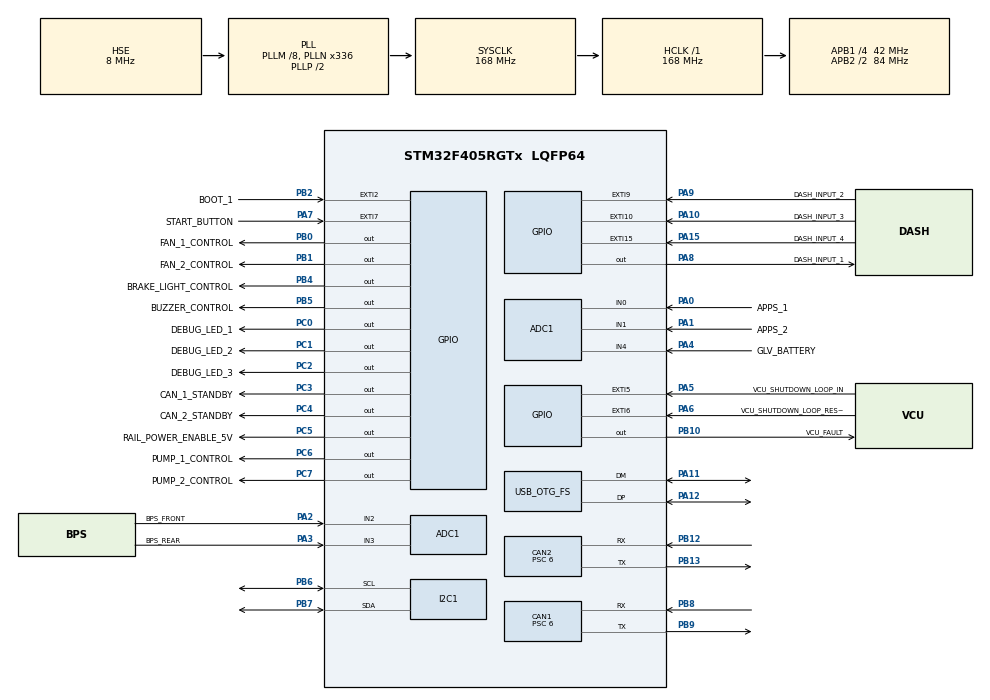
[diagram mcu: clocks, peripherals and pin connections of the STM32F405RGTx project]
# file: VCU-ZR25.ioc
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ADC1.Channel-0\#ChannelRegularConversion=ADC_CHANNEL_0
ADC1.NbrOfConversionFlag=1
ADC1.Rank-0\#ChannelRegularConversion=1
ADC1.SamplingTime-0\#ChannelRegularConversion=ADC_SAMPLETIME_3CYCLES
ADC1.master=1
CAN1.BS1=CAN_BS1_3TQ
CAN1.BS2=CAN_BS2_3TQ
CAN1.CalculateBaudRate=1000000
CAN1.CalculateTimeBit=1000
CAN1.CalculateTimeQuantum=142.85714285714286
CAN1.Prescaler=6
CAN1.TXFP=ENABLE
CAN2.BS1=CAN_BS1_3TQ
CAN2.BS2=CAN_BS2_3TQ
CAN2.CalculateBaudRate=1000000
CAN2.CalculateTimeBit=1000
CAN2.CalculateTimeQuantum=142.85714285714286
CAN2.Prescaler=6
Dma.I2C1_RX.0.Direction=DMA_PERIPH_TO_MEMORY
Dma.I2C1_RX.0.FIFOMode=DMA_FIFOMODE_DISABLE
Dma.I2C1_RX.0.Instance=DMA1_Stream0
Dma.I2C1_RX.0.MemDataAlignment=DMA_MDATAALIGN_BYTE
Dma.I2C1_RX.0.MemInc=DMA_MINC_ENABLE
Dma.I2C1_RX.0.Mode=DMA_NORMAL
Dma.I2C1_RX.0.PeriphDataAlignment=DMA_PDATAALIGN_BYTE
Dma.I2C1_RX.0.PeriphInc=DMA_PINC_DISABLE
Dma.I2C1_RX.0.Priority=DMA_PRIORITY_LOW
Dma.Request0=I2C1_RX
FREERTOS.Events01=amkEventFlags,Static,amkEventFlagsControlBlock
FREERTOS.Mutexes01=vdb_sas_lock,Static,vdb_sas_lockControlBlock,Depleted;vdb_apps_lock,Static,vdb_apps_lockControlBlock,Depleted;vdb_bps_front_lock,Static,vdb_bps_front_lockControlBlock,Depleted;vdb_bps_rear_lock,Static,vdb_bps_rear_lockControlBlock,Depleted;vdb_inverter_lock,Static,vdb_inverter_lockControlBlock,Depleted;vdb_fsm_state_lock,Static,vdb_fsm_state_lockControlBlock,Depleted;vdb_powsup_lock,Static,vdb_powsup_lockControlBlock,Depleted;vdb_cooling_lock,Static,vdb_cooling_lockControlBlock,Depleted;vdb_dashboard_lock,Static,vdb_dashboard_lockControlBlock,Depleted;vdb_torquectrl_lock,Static,vdb_torquectrl_lockControlBlock,Depleted;can_db_lock,Static,can_db_lockControlBlock,Depleted;vdb_faulttask_lock,Static,vdb_faulttask_lockControlBlock,Depleted;vdb_gps_lock,Static,vdb_gps_lockControlBlock,Depleted;vdb_defaultTask_lock,Static,vdb_defaultTask_lockControlBlock,Available
FREERTOS.Queues01=canDbTxQueue,16,16,1,Static,canDbTxQueueBuffer,canDbTxQueueControlBlock;canDbRxQueue,16,16,1,Static,canDbRxQueueBuffer,canDbRxQueueControlBlock
FREERTOS.Tasks01=defaultTask,24,128,StartDefaultTask,Default,NULL,Dynamic,NULL,NULL;fsmTask,24,512,StartFsmTask,As external,NULL,Static,fsmTaskBuffer,fsmTaskControlBlock;powsupTask,24,512,StartPwrSupTask,As external,&powsupArgs,Static,powsupTaskBuffer,powsupTaskControlBlock;driversensrTask,24,2048,StartDriverSensorTask,As external,&driversensorArgs,Static,driversensrTaskBuffer,driversensrTaskControlBlock;faultTask,24,512,StartFaultTask,As external,NULL,Static,faultTaskBuffer,faultTaskControlBlock;canDbTask,24,512,StartCanDbTask,As external,&hcan1,Static,canDbTaskBuffer,canDbTaskControlBlock;coolingTask,24,512,StartCoolingTask,As external,NULL,Static,coolingTaskBuffer,coolingTaskControlBlock;dashboardTask,24,512,StartDashboardTask,As external,NULL,Static,dashboardTaskBuffer,dashboardTaskControlBlock;torquectrlTask,24,512,StartTorqueCtrlTask,As external,NULL,Static,torquectrlTaskBuffer,torquectrlTaskControlBlock;amkTask,24,512,StartAMKTask,As external,NULL,Static,amkTaskBuffer,amkTaskControlBlock;canSensorsTask,8,128,StartCanSensorsTask,As external,NULL,Static,canSensorsTaskBuffer,canSensorsTaskControlBlock
FREERTOS.configGENERATE_RUN_TIME_STATS=1
FREERTOS.configUSE_NEWLIB_REENTRANT=1
Mcu.Family=STM32F4
Mcu.Name=STM32F405RGTx
Mcu.Package=LQFP64
NVIC.CAN1_RX0_IRQn=true\:5\:0\:false\:false\:true\:true\:true\:true\:true
NVIC.CAN2_RX0_IRQn=true\:5\:0\:false\:false\:true\:true\:true\:true\:true
NVIC.DMA1_Stream0_IRQn=true\:5\:0\:false\:false\:true\:true\:false\:true\:true
NVIC.EXTI15_10_IRQn=true\:5\:0\:false\:false\:true\:true\:true\:true\:true
NVIC.EXTI9_5_IRQn=true\:5\:0\:false\:false\:true\:true\:true\:true\:true
NVIC.OTG_FS_IRQn=true\:5\:0\:false\:false\:true\:true\:false\:true\:true
NVIC.PriorityGroup=NVIC_PRIORITYGROUP_4
NVIC.TIM1_TRG_COM_TIM11_IRQn=true\:5\:0\:false\:false\:true\:true\:true\:true\:true
NVIC.TIM1_UP_TIM10_IRQn=true\:5\:0\:false\:false\:true\:false\:false\:true\:true
NVIC.TimeBase=TIM1_UP_TIM10_IRQn
NVIC.TimeBaseIP=TIM1
PA0-WKUP.GPIO_Label=APPS_1
PA0-WKUP.Signal=ADCx_IN0
PA1.GPIO_Label=APPS_2
PA1.Signal=ADCx_IN1
PA10.GPIO_Label=DASH_INPUT_3
PA10.GPIO_ModeDefaultEXTI=GPIO_MODE_IT_RISING_FALLING
PA10.GPIO_PuPd=GPIO_NOPULL
PA10.Signal=GPXTI10
PA11.Mode=Device_Only
PA11.Signal=USB_OTG_FS_DM
PA12.Mode=Device_Only
PA12.Signal=USB_OTG_FS_DP
PA13.Mode=Trace_Asynchronous_SW
PA13.Signal=SYS_JTMS-SWDIO
PA14.Mode=Trace_Asynchronous_SW
PA14.Signal=SYS_JTCK-SWCLK
PA15.GPIO_Label=DASH_INPUT_4
PA15.GPIO_ModeDefaultEXTI=GPIO_MODE_IT_RISING_FALLING
PA15.GPIO_PuPd=GPIO_NOPULL
PA15.Signal=GPXTI15
PA2.GPIO_Label=BPS_FRONT
PA2.Signal=ADCx_IN2
PA3.GPIO_Label=BPS_REAR
PA3.Signal=ADCx_IN3
PA4.GPIO_Label=GLV_BATTERY
PA4.Signal=ADCx_IN4
PA5.GPIO_Label=VCU_SHUTDOWN_LOOP_IN
PA5.GPIO_ModeDefaultEXTI=GPIO_MODE_IT_RISING_FALLING
PA5.GPIO_PuPd=GPIO_NOPULL
PA5.Signal=GPXTI5
PA6.GPIO_Label=VCU_SHUTDOWN_LOOP_RESET
PA6.GPIO_ModeDefaultEXTI=GPIO_MODE_IT_RISING_FALLING
PA6.GPIO_PuPd=GPIO_NOPULL
PA6.Signal=GPXTI6
PA7.GPIO_Label=START_BUTTON
PA7.GPIO_ModeDefaultEXTI=GPIO_MODE_IT_RISING_FALLING
PA7.GPIO_PuPd=GPIO_NOPULL
PA7.Signal=GPXTI7
PA8.GPIO_Label=DASH_INPUT_1
PA8.Signal=GPIO_Output
PA9.GPIO_Label=DASH_INPUT_2
PA9.GPIO_ModeDefaultEXTI=GPIO_MODE_IT_RISING_FALLING
PA9.Signal=GPXTI9
PB0.GPIO_Label=FAN_1_CONTROL
PB0.Signal=GPIO_Output
PB1.GPIO_Label=FAN_2_CONTROL
PB1.Signal=GPIO_Output
PB10.GPIO_Label=VCU_FAULT
PB10.Signal=GPIO_Output
PB12.Mode=CAN_Activate
PB12.Signal=CAN2_RX
PB13.Mode=CAN_Activate
PB13.Signal=CAN2_TX
PB2.GPIO_Label=BOOT_1
PB2.GPIO_ModeDefaultEXTI=GPIO_MODE_IT_RISING_FALLING
PB2.Signal=GPXTI2
PB3.Mode=Trace_Asynchronous_SW
PB3.Signal=SYS_JTDO-SWO
PB4.GPIO_Label=BRAKE_LIGHT_CONTROL
PB4.Signal=GPIO_Output
PB5.GPIO_Label=BUZZER_CONTROL
PB5.Signal=GPIO_Output
PB6.GPIO_Pu=GPIO_PULLUP
PB6.Mode=I2C
PB6.Signal=I2C1_SCL
PB7.GPIO_Pu=GPIO_PULLUP
PB7.Mode=I2C
PB7.Signal=I2C1_SDA
PB8.Mode=CAN_Activate
PB8.Signal=CAN1_RX
PB9.Mode=CAN_Activate
PB9.Signal=CAN1_TX
PC0.GPIO_Label=DEBUG_LED_1
PC0.Signal=GPIO_Output
PC1.GPIO_Label=DEBUG_LED_2
PC1.Signal=GPIO_Output
PC2.GPIO_Label=DEBUG_LED_3
PC2.Signal=GPIO_Output
PC3.GPIO_Label=CAN_1_STANDBY
PC3.Signal=GPIO_Output
PC4.GPIO_Label=CAN_2_STANDBY
PC4.Signal=GPIO_Output
PC5.GPIO_Label=RAIL_POWER_ENABLE_5V
PC5.Signal=GPIO_Output
PC6.GPIO_Label=PUMP_1_CONTROL
PC6.Signal=GPIO_Output
PC7.GPIO_Label=PUMP_2_CONTROL
PC7.Signal=GPIO_Output
PH0-OSC_IN.Mode=HSE-External-Oscillator
PH0-OSC_IN.Signal=RCC_OSC_IN
PH1-OSC_OUT.Mode=HSE-External-Oscillator
PH1-OSC_OUT.Signal=RCC_OSC_OUT
ProjectManager.HeapSize=0x800
ProjectManager.StackSize=0x400
ProjectManager.TargetToolchain=STM32CubeIDE
RCC.48MHZClocksFreq_Value=48000000
RCC.AHBFreq_Value=168000000
RCC.APB1CLKDivider=RCC_HCLK_DIV4
RCC.APB1Freq_Value=42000000
RCC.APB1TimFreq_Value=84000000
RCC.APB2CLKDivider=RCC_HCLK_DIV2
RCC.APB2Freq_Value=84000000
RCC.APB2TimFreq_Value=168000000
RCC.CortexFreq_Value=168000000
RCC.HCLKFreq_Value=168000000
RCC.HSE_VALUE=8000000
RCC.HSI_VALUE=16000000
RCC.LSE_VALUE=32768
RCC.PLLM=8
RCC.PLLN=336
RCC.PLLQ=7
RCC.SYSCLKFreq_VALUE=168000000
RCC.SYSCLKSource=RCC_SYSCLKSOURCE_PLLCLK
RCC.VCOOutputFreq_Value=336000000
SH.ADCx_IN0.0=ADC1_IN0,IN0
SH.ADCx_IN1.0=ADC1_IN1,IN1
SH.ADCx_IN2.0=ADC1_IN2,IN2
SH.ADCx_IN3.0=ADC1_IN3,IN3
SH.ADCx_IN4.0=ADC1_IN4,IN4
TIM11.Period=4199
USB_DEVICE.CLASS_NAME_FS=CDC
USB_DEVICE.VirtualMode-CDC_FS=Cdc
USB_DEVICE.VirtualModeFS=Cdc_FS
USB_OTG_FS.VirtualMode=Device_Only
VP_FREERTOS_VS_CMSIS_V2.Mode=CMSIS_V2
VP_SYS_VS_tim1.Mode=TIM1
VP_TIM11_VS_ClockSourceINT.Mode=Enable_Timer
VP_USB_DEVICE_VS_USB_DEVICE_CDC_FS.Mode=CDC_FS
board=custom

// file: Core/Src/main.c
/* USER CODE BEGIN Header */
/**
  ******************************************************************************
  * @file           : main.c
  * @brief          : Main program body
  ******************************************************************************
  * @attention
  *
  * Copyright (c) 2024 STMicroelectronics.
  * All rights reserved.
  *
  * This software is licensed under terms that can be found in the LICENSE file
  * in the root directory of this software component.
  * If no LICENSE file comes with this software, it is provided AS-IS.
  *
  ******************************************************************************
  */

/*
 * TODO:
 * - Put watchdog back in?
 */

/* USER CODE END Header */
#include "main.h"
#include "cmsis_os.h"
#include "usb_device.h"

/* USER CODE BEGIN Includes */
#include "driver_sensors.h"
#include "vehicle_data.h"
#include "vehicle_fsm.h"
#include "power_supply.h"
#include "fault_mgmt.h"
#include "can_db.h"
#include "can_messages.h"
#include "cooling_system.h"
#include "torque_ctrl.h"
/* USER CODE END Includes */

typedef StaticTask_t osStaticThreadDef_t;
typedef StaticQueue_t osStaticMessageQDef_t;
typedef StaticSemaphore_t osStaticMutexDef_t;
typedef StaticEventGroup_t osStaticEventGroupDef_t;

/* USER CODE BEGIN PM */
powSupTaskArgs_t powsupArgs;
DriverSensorTaskArgs_t driversensorArgs;
/* USER CODE END PM */

ADC_HandleTypeDef hadc1;

CAN_HandleTypeDef hcan1;
CAN_HandleTypeDef hcan2;

I2C_HandleTypeDef hi2c1;
DMA_HandleTypeDef hdma_i2c1_rx;

TIM_HandleTypeDef htim11;

/* Definitions for defaultTask */
osThreadId_t defaultTaskHandle;
const osThreadAttr_t defaultTask_attributes = {
  .name = "defaultTask",
  .stack_size = 128 * 4,
  .priority = (osPriority_t) osPriorityNormal,
};
/* Definitions for fsmTask */
osThreadId_t fsmTaskHandle;
uint32_t fsmTaskBuffer[ 512 ];
osStaticThreadDef_t fsmTaskControlBlock;
const osThreadAttr_t fsmTask_attributes = {
  .name = "fsmTask",
  .cb_mem = &fsmTaskControlBlock,
  .cb_size = sizeof(fsmTaskControlBlock),
  .stack_mem = &fsmTaskBuffer[0],
  .stack_size = sizeof(fsmTaskBuffer),
  .priority = (osPriority_t) osPriorityNormal,
};
/* Definitions for powsupTask */
osThreadId_t powsupTaskHandle;
uint32_t powsupTaskBuffer[ 512 ];
osStaticThreadDef_t powsupTaskControlBlock;
const osThreadAttr_t powsupTask_attributes = {
  .name = "powsupTask",
  .cb_mem = &powsupTaskControlBlock,
  .cb_size = sizeof(powsupTaskControlBlock),
  .stack_mem = &powsupTaskBuffer[0],
  .stack_size = sizeof(powsupTaskBuffer),
  .priority = (osPriority_t) osPriorityNormal,
};
/* Definitions for driversensrTask */
osThreadId_t driversensrTaskHandle;
uint32_t driversensrTaskBuffer[ 2048 ];
osStaticThreadDef_t driversensrTaskControlBlock;
const osThreadAttr_t driversensrTask_attributes = {
  .name = "driversensrTask",
  .cb_mem = &driversensrTaskControlBlock,
  .cb_size = sizeof(driversensrTaskControlBlock),
  .stack_mem = &driversensrTaskBuffer[0],
  .stack_size = sizeof(driversensrTaskBuffer),
  .priority = (osPriority_t) osPriorityNormal,
};
/* Definitions for faultTask */
osThreadId_t faultTaskHandle;
uint32_t faultTaskBuffer[ 512 ];
osStaticThreadDef_t faultTaskControlBlock;
const osThreadAttr_t faultTask_attributes = {
  .name = "faultTask",
  .cb_mem = &faultTaskControlBlock,
  .cb_size = sizeof(faultTaskControlBlock),
  .stack_mem = &faultTaskBuffer[0],
  .stack_size = sizeof(faultTaskBuffer),
  .priority = (osPriority_t) osPriorityNormal,
};
/* Definitions for canDbTask */
osThreadId_t canDbTaskHandle;
uint32_t canDbTaskBuffer[ 512 ];
osStaticThreadDef_t canDbTaskControlBlock;
const osThreadAttr_t canDbTask_attributes = {
  .name = "canDbTask",
  .cb_mem = &canDbTaskControlBlock,
  .cb_size = sizeof(canDbTaskControlBlock),
  .stack_mem = &canDbTaskBuffer[0],
  .stack_size = sizeof(canDbTaskBuffer),
  .priority = (osPriority_t) osPriorityNormal,
};
/* Definitions for coolingTask */
osThreadId_t coolingTaskHandle;
uint32_t coolingTaskBuffer[ 512 ];
osStaticThreadDef_t coolingTaskControlBlock;
const osThreadAttr_t coolingTask_attributes = {
  .name = "coolingTask",
  .cb_mem = &coolingTaskControlBlock,
  .cb_size = sizeof(coolingTaskControlBlock),
  .stack_mem = &coolingTaskBuffer[0],
  .stack_size = sizeof(coolingTaskBuffer),
  .priority = (osPriority_t) osPriorityNormal,
};
/* Definitions for dashboardTask */
osThreadId_t dashboardTaskHandle;
uint32_t dashboardTaskBuffer[ 512 ];
osStaticThreadDef_t dashboardTaskControlBlock;
const osThreadAttr_t dashboardTask_attributes = {
  .name = "dashboardTask",
  .cb_mem = &dashboardTaskControlBlock,
  .cb_size = sizeof(dashboardTaskControlBlock),
  .stack_mem = &dashboardTaskBuffer[0],
  .stack_size = sizeof(dashboardTaskBuffer),
  .priority = (osPriority_t) osPriorityNormal,
};
/* Definitions for torquectrlTask */
osThreadId_t torquectrlTaskHandle;
uint32_t torquectrlTaskBuffer[ 512 ];
osStaticThreadDef_t torquectrlTaskControlBlock;
const osThreadAttr_t torquectrlTask_attributes = {
  .name = "torquectrlTask",
  .cb_mem = &torquectrlTaskControlBlock,
  .cb_size = sizeof(torquectrlTaskControlBlock),
  .stack_mem = &torquectrlTaskBuffer[0],
  .stack_size = sizeof(torquectrlTaskBuffer),
  .priority = (osPriority_t) osPriorityNormal,
};
/* Definitions for amkTask */
osThreadId_t amkTaskHandle;
uint32_t amkTaskBuffer[ 512 ];
osStaticThreadDef_t amkTaskControlBlock;
const osThreadAttr_t amkTask_attributes = {
  .name = "amkTask",
  .cb_mem = &amkTaskControlBlock,
  .cb_size = sizeof(amkTaskControlBlock),
  .stack_mem = &amkTaskBuffer[0],
  .stack_size = sizeof(amkTaskBuffer),
  .priority = (osPriority_t) osPriorityNormal,
};
/* Definitions for canSensorsTask */
osThreadId_t canSensorsTaskHandle;
uint32_t canSensorsTaskBuffer[ 128 ];
osStaticThreadDef_t canSensorsTaskControlBlock;
const osThreadAttr_t canSensorsTask_attributes = {
  .name = "canSensorsTask",
  .cb_mem = &canSensorsTaskControlBlock,
  .cb_size = sizeof(canSensorsTaskControlBlock),
  .stack_mem = &canSensorsTaskBuffer[0],
  .stack_size = sizeof(canSensorsTaskBuffer),
  .priority = (osPriority_t) osPriorityLow,
};
/* Definitions for canDbTxQueue */
osMessageQueueId_t canDbTxQueueHandle;
uint8_t canDbTxQueueBuffer[ 16 * 16 ];
osStaticMessageQDef_t canDbTxQueueControlBlock;
const osMessageQueueAttr_t canDbTxQueue_attributes = {
  .name = "canDbTxQueue",
  .cb_mem = &canDbTxQueueControlBlock,
  .cb_size = sizeof(canDbTxQueueControlBlock),
  .mq_mem = &canDbTxQueueBuffer,
  .mq_size = sizeof(canDbTxQueueBuffer)
};
/* Definitions for canDbRxQueue */
osMessageQueueId_t canDbRxQueueHandle;
uint8_t canDbRxQueueBuffer[ 16 * 16 ];
osStaticMessageQDef_t canDbRxQueueControlBlock;
const osMessageQueueAttr_t canDbRxQueue_attributes = {
  .name = "canDbRxQueue",
  .cb_mem = &canDbRxQueueControlBlock,
  .cb_size = sizeof(canDbRxQueueControlBlock),
  .mq_mem = &canDbRxQueueBuffer,
  .mq_size = sizeof(canDbRxQueueBuffer)
};
/* Definitions for vdb_sas_lock */
osMutexId_t vdb_sas_lockHandle;
osStaticMutexDef_t vdb_sas_lockControlBlock;
const osMutexAttr_t vdb_sas_lock_attributes = {
  .name = "vdb_sas_lock",
  .cb_mem = &vdb_sas_lockControlBlock,
  .cb_size = sizeof(vdb_sas_lockControlBlock),
};
/* Definitions for vdb_apps_lock */
osMutexId_t vdb_apps_lockHandle;
osStaticMutexDef_t vdb_apps_lockControlBlock;
const osMutexAttr_t vdb_apps_lock_attributes = {
  .name = "vdb_apps_lock",
  .cb_mem = &vdb_apps_lockControlBlock,
  .cb_size = sizeof(vdb_apps_lockControlBlock),
};
/* Definitions for vdb_bps_front_lock */
osMutexId_t vdb_bps_front_lockHandle;
osStaticMutexDef_t vdb_bps_front_lockControlBlock;
const osMutexAttr_t vdb_bps_front_lock_attributes = {
  .name = "vdb_bps_front_lock",
  .cb_mem = &vdb_bps_front_lockControlBlock,
  .cb_size = sizeof(vdb_bps_front_lockControlBlock),
};
/* Definitions for vdb_bps_rear_lock */
osMutexId_t vdb_bps_rear_lockHandle;
osStaticMutexDef_t vdb_bps_rear_lockControlBlock;
const osMutexAttr_t vdb_bps_rear_lock_attributes = {
  .name = "vdb_bps_rear_lock",
  .cb_mem = &vdb_bps_rear_lockControlBlock,
  .cb_size = sizeof(vdb_bps_rear_lockControlBlock),
};
/* Definitions for vdb_inverter_lock */
osMutexId_t vdb_inverter_lockHandle;
osStaticMutexDef_t vdb_inverter_lockControlBlock;
const osMutexAttr_t vdb_inverter_lock_attributes = {
  .name = "vdb_inverter_lock",
  .cb_mem = &vdb_inverter_lockControlBlock,
  .cb_size = sizeof(vdb_inverter_lockControlBlock),
};
/* Definitions for vdb_fsm_state_lock */
osMutexId_t vdb_fsm_state_lockHandle;
osStaticMutexDef_t vdb_fsm_state_lockControlBlock;
const osMutexAttr_t vdb_fsm_state_lock_attributes = {
  .name = "vdb_fsm_state_lock",
  .cb_mem = &vdb_fsm_state_lockControlBlock,
  .cb_size = sizeof(vdb_fsm_state_lockControlBlock),
};
/* Definitions for vdb_powsup_lock */
osMutexId_t vdb_powsup_lockHandle;
osStaticMutexDef_t vdb_powsup_lockControlBlock;
const osMutexAttr_t vdb_powsup_lock_attributes = {
  .name = "vdb_powsup_lock",
  .cb_mem = &vdb_powsup_lockControlBlock,
  .cb_size = sizeof(vdb_powsup_lockControlBlock),
};
/* Definitions for vdb_cooling_lock */
osMutexId_t vdb_cooling_lockHandle;
osStaticMutexDef_t vdb_cooling_lockControlBlock;
const osMutexAttr_t vdb_cooling_lock_attributes = {
  .name = "vdb_cooling_lock",
  .cb_mem = &vdb_cooling_lockControlBlock,
  .cb_size = sizeof(vdb_cooling_lockControlBlock),
};
/* Definitions for vdb_dashboard_lock */
osMutexId_t vdb_dashboard_lockHandle;
osStaticMutexDef_t vdb_dashboard_lockControlBlock;
const osMutexAttr_t vdb_dashboard_lock_attributes = {
  .name = "vdb_dashboard_lock",
  .cb_mem = &vdb_dashboard_lockControlBlock,
  .cb_size = sizeof(vdb_dashboard_lockControlBlock),
};
/* Definitions for vdb_torquectrl_lock */
osMutexId_t vdb_torquectrl_lockHandle;
osStaticMutexDef_t vdb_torquectrl_lockControlBlock;
const osMutexAttr_t vdb_torquectrl_lock_attributes = {
  .name = "vdb_torquectrl_lock",
  .cb_mem = &vdb_torquectrl_lockControlBlock,
  .cb_size = sizeof(vdb_torquectrl_lockControlBlock),
};
/* Definitions for can_db_lock */
osMutexId_t can_db_lockHandle;
osStaticMutexDef_t can_db_lockControlBlock;
const osMutexAttr_t can_db_lock_attributes = {
  .name = "can_db_lock",
  .cb_mem = &can_db_lockControlBlock,
  .cb_size = sizeof(can_db_lockControlBlock),
};
/* Definitions for vdb_faulttask_lock */
osMutexId_t vdb_faulttask_lockHandle;
osStaticMutexDef_t vdb_faulttask_lockControlBlock;
const osMutexAttr_t vdb_faulttask_lock_attributes = {
  .name = "vdb_faulttask_lock",
  .cb_mem = &vdb_faulttask_lockControlBlock,
  .cb_size = sizeof(vdb_faulttask_lockControlBlock),
};
/* Definitions for vdb_gps_lock */
osMutexId_t vdb_gps_lockHandle;
osStaticMutexDef_t vdb_gps_lockControlBlock;
const osMutexAttr_t vdb_gps_lock_attributes = {
  .name = "vdb_gps_lock",
  .cb_mem = &vdb_gps_lockControlBlock,
  .cb_size = sizeof(vdb_gps_lockControlBlock),
};
/* Definitions for vdb_defaultTask_lock */
osMutexId_t vdb_defaultTask_lockHandle;
osStaticMutexDef_t vdb_defaultTask_lockControlBlock;
const osMutexAttr_t vdb_defaultTask_lock_attributes = {
  .name = "vdb_defaultTask_lock",
  .cb_mem = &vdb_defaultTask_lockControlBlock,
  .cb_size = sizeof(vdb_defaultTask_lockControlBlock),
};
/* Definitions for amkEventFlags */
osEventFlagsId_t amkEventFlagsHandle;
osStaticEventGroupDef_t amkEventFlagsControlBlock;
const osEventFlagsAttr_t amkEventFlags_attributes = {
  .name = "amkEventFlags",
  .cb_mem = &amkEventFlagsControlBlock,
  .cb_size = sizeof(amkEventFlagsControlBlock),
};
/* USER CODE BEGIN PV */
osThreadId_t fsmTaskHandle;
osThreadId_t powsupTaskHandle;
osThreadId_t driversensorTaskHandle;
osThreadId_t faultTaskHandle;
osThreadId_t canTaskHandle;
osThreadId_t coolingTaskHandle;
osThreadId_t dashboardTaskHandle;
osThreadId_t torquectrlTaskHandle;
/* USER CODE END PV */

void SystemClock_Config(void);
static void MX_GPIO_Init(void);
static void MX_DMA_Init(void);
static void MX_CAN1_Init(void);
static void MX_CAN2_Init(void);
static void MX_I2C1_Init(void);
static void MX_ADC1_Init(void);
static void MX_TIM11_Init(void);
void StartDefaultTask(void *argument);
extern void StartFsmTask(void *argument);
extern void StartPwrSupTask(void *argument);
extern void StartDriverSensorTask(void *argument);
extern void StartFaultTask(void *argument);
extern void StartCanDbTask(void *argument);
extern void StartCoolingTask(void *argument);
extern void StartDashboardTask(void *argument);
extern void StartTorqueCtrlTask(void *argument);
extern void StartAMKTask(void *argument);
extern void StartCanSensorsTask(void *argument);

/* USER CODE BEGIN 0 */

void HAL_GPIO_EXTI_Callback(uint16_t GPIO_Pin)
{
  FSM_GPIO_Callback(GPIO_Pin);
}

void HAL_CAN_RxFifo0MsgPendingCallback(CAN_HandleTypeDef *hcan) {
	CAN_RxHeaderTypeDef pHeader;
	uint8_t aData[8];
	if (HAL_CAN_GetRxMessage(&hcan1, 0, &pHeader, aData) == HAL_OK) {
		CANIRQRxHandler(&pHeader, aData);
	}
	if (HAL_CAN_GetRxMessage(&hcan2, 0, &pHeader, aData) == HAL_OK) {
		CANIRQRxHandler(&pHeader, aData);
	}
}

void HAL_CAN_RxFifo1MsgPendingCallback(CAN_HandleTypeDef *hcan) {
	CAN_RxHeaderTypeDef pHeader;
	uint8_t aData[8];
	if (HAL_CAN_GetRxMessage(&hcan1, 0, &pHeader, aData) == HAL_OK) {
		CANIRQRxHandler(&pHeader, aData);
	}
	if (HAL_CAN_GetRxMessage(&hcan2, 0, &pHeader, aData) == HAL_OK) {
		CANIRQRxHandler(&pHeader, aData);
	}
}

/* USER CODE END 0 */

int main(void)
{

  /* MCU Configuration--------------------------------------------------------*/

  /* Reset of all peripherals, Initializes the Flash interface and the Systick. */
  HAL_Init();

  /* Configure the system clock */
  SystemClock_Config();

  /* Initialize all configured peripherals */
  MX_GPIO_Init();
  MX_DMA_Init();
  MX_CAN1_Init();
  MX_CAN2_Init();
  MX_I2C1_Init();
  MX_ADC1_Init();
  MX_TIM11_Init();
  /* USER CODE BEGIN 2 */
  initVehicleData();

  powsupArgs = (powSupTaskArgs_t){.hadc1 = hadc1, .sConfig = {0}};
  driversensorArgs = (DriverSensorTaskArgs_t){.hadc1 = hadc1, .sConfig = {0}, .hi2c1 = hi2c1};

  /* USER CODE END 2 */

  /* Init scheduler */
  osKernelInitialize();
  /* Create the mutex(es) */
  /* creation of vdb_sas_lock */
  vdb_sas_lockHandle = osMutexNew(&vdb_sas_lock_attributes);

  /* creation of vdb_apps_lock */
  vdb_apps_lockHandle = osMutexNew(&vdb_apps_lock_attributes);

  /* creation of vdb_bps_front_lock */
  vdb_bps_front_lockHandle = osMutexNew(&vdb_bps_front_lock_attributes);

  /* creation of vdb_bps_rear_lock */
  vdb_bps_rear_lockHandle = osMutexNew(&vdb_bps_rear_lock_attributes);

  /* creation of vdb_inverter_lock */
  vdb_inverter_lockHandle = osMutexNew(&vdb_inverter_lock_attributes);

  /* creation of vdb_fsm_state_lock */
  vdb_fsm_state_lockHandle = osMutexNew(&vdb_fsm_state_lock_attributes);

  /* creation of vdb_powsup_lock */
  vdb_powsup_lockHandle = osMutexNew(&vdb_powsup_lock_attributes);

  /* creation of vdb_cooling_lock */
  vdb_cooling_lockHandle = osMutexNew(&vdb_cooling_lock_attributes);

  /* creation of vdb_dashboard_lock */
  vdb_dashboard_lockHandle = osMutexNew(&vdb_dashboard_lock_attributes);

  /* creation of vdb_torquectrl_lock */
  vdb_torquectrl_lockHandle = osMutexNew(&vdb_torquectrl_lock_attributes);

  /* creation of can_db_lock */
  can_db_lockHandle = osMutexNew(&can_db_lock_attributes);

  /* creation of vdb_faulttask_lock */
  vdb_faulttask_lockHandle = osMutexNew(&vdb_faulttask_lock_attributes);

  /* creation of vdb_gps_lock */
  vdb_gps_lockHandle = osMutexNew(&vdb_gps_lock_attributes);

  /* creation of vdb_defaultTask_lock */
  vdb_defaultTask_lockHandle = osMutexNew(&vdb_defaultTask_lock_attributes);

  /* USER CODE BEGIN RTOS_MUTEX */
  /* add mutexes, ... */
  initCANDatabase();
  /* USER CODE END RTOS_MUTEX */

  /* Create the queue(s) */
  /* creation of canDbTxQueue */
  canDbTxQueueHandle = osMessageQueueNew (16, 16, &canDbTxQueue_attributes);

  /* creation of canDbRxQueue */
  canDbRxQueueHandle = osMessageQueueNew (16, 16, &canDbRxQueue_attributes);

  /* Create the thread(s) */
  /* creation of defaultTask */
  defaultTaskHandle = osThreadNew(StartDefaultTask, NULL, &defaultTask_attributes);

  /* creation of fsmTask */
  fsmTaskHandle = osThreadNew(StartFsmTask, NULL, &fsmTask_attributes);

  /* creation of powsupTask */
  powsupTaskHandle = osThreadNew(StartPwrSupTask, (void*) &powsupArgs, &powsupTask_attributes);

  /* creation of driversensrTask */
  driversensrTaskHandle = osThreadNew(StartDriverSensorTask, (void*) &driversensorArgs, &driversensrTask_attributes);

  /* creation of faultTask */
  faultTaskHandle = osThreadNew(StartFaultTask, NULL, &faultTask_attributes);

  /* creation of canDbTask */
  canDbTaskHandle = osThreadNew(StartCanDbTask, (void*) &hcan1, &canDbTask_attributes);

  /* creation of coolingTask */
  coolingTaskHandle = osThreadNew(StartCoolingTask, NULL, &coolingTask_attributes);

  /* creation of dashboardTask */
  dashboardTaskHandle = osThreadNew(StartDashboardTask, NULL, &dashboardTask_attributes);

  /* creation of torquectrlTask */
  torquectrlTaskHandle = osThreadNew(StartTorqueCtrlTask, NULL, &torquectrlTask_attributes);

  /* creation of amkTask */
  amkTaskHandle = osThreadNew(StartAMKTask, NULL, &amkTask_attributes);

  /* creation of canSensorsTask */
  canSensorsTaskHandle = osThreadNew(StartCanSensorsTask, NULL, &canSensorsTask_attributes);

  /* creation of amkEventFlags */
  amkEventFlagsHandle = osEventFlagsNew(&amkEventFlags_attributes);

  /* Start scheduler */
  osKernelStart();

  /* We should never get here as control is now taken by the scheduler */

  /* Infinite loop */
  while (1)
  {

   }
}

void SystemClock_Config(void)
{
  RCC_OscInitTypeDef RCC_OscInitStruct = {0};
  RCC_ClkInitTypeDef RCC_ClkInitStruct = {0};

  /** Configure the main internal regulator output voltage
  */
  __HAL_RCC_PWR_CLK_ENABLE();
  __HAL_PWR_VOLTAGESCALING_CONFIG(PWR_REGULATOR_VOLTAGE_SCALE1);

  /** Initializes the RCC Oscillators according to the specified parameters
  * in the RCC_OscInitTypeDef structure.
  */
  RCC_OscInitStruct.OscillatorType = RCC_OSCILLATORTYPE_HSE;
  RCC_OscInitStruct.HSEState = RCC_HSE_ON;
  RCC_OscInitStruct.PLL.PLLState = RCC_PLL_ON;
  RCC_OscInitStruct.PLL.PLLSource = RCC_PLLSOURCE_HSE;
  RCC_OscInitStruct.PLL.PLLM = 8;
  RCC_OscInitStruct.PLL.PLLN = 336;
  RCC_OscInitStruct.PLL.PLLP = RCC_PLLP_DIV2;
  RCC_OscInitStruct.PLL.PLLQ = 7;
  if (HAL_RCC_OscConfig(&RCC_OscInitStruct) != HAL_OK)
  {
    Error_Handler();
  }

  /** Initializes the CPU, AHB and APB buses clocks
  */
  RCC_ClkInitStruct.ClockType = RCC_CLOCKTYPE_HCLK|RCC_CLOCKTYPE_SYSCLK
                              |RCC_CLOCKTYPE_PCLK1|RCC_CLOCKTYPE_PCLK2;
  RCC_ClkInitStruct.SYSCLKSource = RCC_SYSCLKSOURCE_PLLCLK;
  RCC_ClkInitStruct.AHBCLKDivider = RCC_SYSCLK_DIV1;
  RCC_ClkInitStruct.APB1CLKDivider = RCC_HCLK_DIV4;
  RCC_ClkInitStruct.APB2CLKDivider = RCC_HCLK_DIV2;

  if (HAL_RCC_ClockConfig(&RCC_ClkInitStruct, FLASH_LATENCY_5) != HAL_OK)
  {
    Error_Handler();
  }
}

static void MX_ADC1_Init(void)
{

  ADC_ChannelConfTypeDef sConfig = {0};

  /** Configure the global features of the ADC (Clock, Resolution, Data Alignment and number of conversion)
  */
  hadc1.Instance = ADC1;
  hadc1.Init.ClockPrescaler = ADC_CLOCK_SYNC_PCLK_DIV4;
  hadc1.Init.Resolution = ADC_RESOLUTION_12B;
  hadc1.Init.ScanConvMode = DISABLE;
  hadc1.Init.ContinuousConvMode = DISABLE;
  hadc1.Init.DiscontinuousConvMode = DISABLE;
  hadc1.Init.ExternalTrigConvEdge = ADC_EXTERNALTRIGCONVEDGE_NONE;
  hadc1.Init.ExternalTrigConv = ADC_SOFTWARE_START;
  hadc1.Init.DataAlign = ADC_DATAALIGN_RIGHT;
  hadc1.Init.NbrOfConversion = 1;
  hadc1.Init.DMAContinuousRequests = DISABLE;
  hadc1.Init.EOCSelection = ADC_EOC_SINGLE_CONV;
  if (HAL_ADC_Init(&hadc1) != HAL_OK)
  {
    Error_Handler();
  }

  /** Configure for the selected ADC regular channel its corresponding rank in the sequencer and its sample time.
  */
  sConfig.Channel = ADC_CHANNEL_0;
  sConfig.Rank = 1;
  sConfig.SamplingTime = ADC_SAMPLETIME_3CYCLES;
  if (HAL_ADC_ConfigChannel(&hadc1, &sConfig) != HAL_OK)
  {
    Error_Handler();
  }

}

static void MX_CAN1_Init(void)
{

  hcan1.Instance = CAN1;
  hcan1.Init.Prescaler = 6;
  hcan1.Init.Mode = CAN_MODE_NORMAL;
  hcan1.Init.SyncJumpWidth = CAN_SJW_1TQ;
  hcan1.Init.TimeSeg1 = CAN_BS1_3TQ;
  hcan1.Init.TimeSeg2 = CAN_BS2_3TQ;
  hcan1.Init.TimeTriggeredMode = DISABLE;
  hcan1.Init.AutoBusOff = DISABLE;
  hcan1.Init.AutoWakeUp = DISABLE;
  hcan1.Init.AutoRetransmission = DISABLE;
  hcan1.Init.ReceiveFifoLocked = DISABLE;
  hcan1.Init.TransmitFifoPriority = ENABLE;
  if (HAL_CAN_Init(&hcan1) != HAL_OK)
  {
    Error_Handler();
  }

}

static void MX_CAN2_Init(void)
{

  hcan2.Instance = CAN2;
  hcan2.Init.Prescaler = 6;
  hcan2.Init.Mode = CAN_MODE_NORMAL;
  hcan2.Init.SyncJumpWidth = CAN_SJW_1TQ;
  hcan2.Init.TimeSeg1 = CAN_BS1_3TQ;
  hcan2.Init.TimeSeg2 = CAN_BS2_3TQ;
  hcan2.Init.TimeTriggeredMode = DISABLE;
  hcan2.Init.AutoBusOff = DISABLE;
  hcan2.Init.AutoWakeUp = DISABLE;
  hcan2.Init.AutoRetransmission = DISABLE;
  hcan2.Init.ReceiveFifoLocked = DISABLE;
  hcan2.Init.TransmitFifoPriority = DISABLE;
  if (HAL_CAN_Init(&hcan2) != HAL_OK)
  {
    Error_Handler();
  }

}

static void MX_I2C1_Init(void)
{

  hi2c1.Instance = I2C1;
  hi2c1.Init.ClockSpeed = 100000;
  hi2c1.Init.DutyCycle = I2C_DUTYCYCLE_2;
  hi2c1.Init.OwnAddress1 = 0;
  hi2c1.Init.AddressingMode = I2C_ADDRESSINGMODE_7BIT;
  hi2c1.Init.DualAddressMode = I2C_DUALADDRESS_DISABLE;
  hi2c1.Init.OwnAddress2 = 0;
  hi2c1.Init.GeneralCallMode = I2C_GENERALCALL_DISABLE;
  hi2c1.Init.NoStretchMode = I2C_NOSTRETCH_DISABLE;
  if (HAL_I2C_Init(&hi2c1) != HAL_OK)
  {
    Error_Handler();
  }

}

static void MX_TIM11_Init(void)
{

  htim11.Instance = TIM11;
  htim11.Init.Prescaler = 0;
  htim11.Init.CounterMode = TIM_COUNTERMODE_UP;
  htim11.Init.Period = 4199;
  htim11.Init.ClockDivision = TIM_CLOCKDIVISION_DIV1;
  htim11.Init.AutoReloadPreload = TIM_AUTORELOAD_PRELOAD_DISABLE;
  if (HAL_TIM_Base_Init(&htim11) != HAL_OK)
  {
    Error_Handler();
  }

}

static void MX_DMA_Init(void)
{

  /* DMA controller clock enable */
  __HAL_RCC_DMA1_CLK_ENABLE();

  /* DMA interrupt init */
  /* DMA1_Stream0_IRQn interrupt configuration */
  HAL_NVIC_SetPriority(DMA1_Stream0_IRQn, 5, 0);
  HAL_NVIC_EnableIRQ(DMA1_Stream0_IRQn);

}

static void MX_GPIO_Init(void)
{
  GPIO_InitTypeDef GPIO_InitStruct = {0};

  /* GPIO Ports Clock Enable */
  __HAL_RCC_GPIOH_CLK_ENABLE();
  __HAL_RCC_GPIOC_CLK_ENABLE();
  __HAL_RCC_GPIOA_CLK_ENABLE();
  __HAL_RCC_GPIOB_CLK_ENABLE();

  /*Configure GPIO pin Output Level */
  HAL_GPIO_WritePin(GPIOC, DEBUG_LED_1_Pin|DEBUG_LED_2_Pin|DEBUG_LED_3_Pin|CAN_1_STANDBY_Pin
                          |CAN_2_STANDBY_Pin|RAIL_POWER_ENABLE_5V_Pin|PUMP_1_CONTROL_Pin|PUMP_2_CONTROL_Pin, GPIO_PIN_RESET);

  /*Configure GPIO pin Output Level */
  HAL_GPIO_WritePin(GPIOB, FAN_1_CONTROL_Pin|FAN_2_CONTROL_Pin|VCU_FAULT_Pin|BRAKE_LIGHT_CONTROL_Pin
                          |BUZZER_CONTROL_Pin, GPIO_PIN_RESET);

  /*Configure GPIO pin Output Level */
  HAL_GPIO_WritePin(DASH_INPUT_1_GPIO_Port, DASH_INPUT_1_Pin, GPIO_PIN_RESET);

  /*Configure GPIO pins : DEBUG_LED_1_Pin DEBUG_LED_2_Pin DEBUG_LED_3_Pin CAN_1_STANDBY_Pin
                           CAN_2_STANDBY_Pin RAIL_POWER_ENABLE_5V_Pin PUMP_1_CONTROL_Pin PUMP_2_CONTROL_Pin */
  GPIO_InitStruct.Pin = DEBUG_LED_1_Pin|DEBUG_LED_2_Pin|DEBUG_LED_3_Pin|CAN_1_STANDBY_Pin
                          |CAN_2_STANDBY_Pin|RAIL_POWER_ENABLE_5V_Pin|PUMP_1_CONTROL_Pin|PUMP_2_CONTROL_Pin;
  GPIO_InitStruct.Mode = GPIO_MODE_OUTPUT_PP;
  GPIO_InitStruct.Pull = GPIO_NOPULL;
  GPIO_InitStruct.Speed = GPIO_SPEED_FREQ_LOW;
  HAL_GPIO_Init(GPIOC, &GPIO_InitStruct);

  /*Configure GPIO pins : VCU_SHUTDOWN_LOOP_IN_Pin VCU_SHUTDOWN_LOOP_RESET_Pin START_BUTTON_Pin DASH_INPUT_2_Pin
                           DASH_INPUT_3_Pin DASH_INPUT_4_Pin */
  GPIO_InitStruct.Pin = VCU_SHUTDOWN_LOOP_IN_Pin|VCU_SHUTDOWN_LOOP_RESET_Pin|START_BUTTON_Pin|DASH_INPUT_2_Pin
                          |DASH_INPUT_3_Pin|DASH_INPUT_4_Pin;
  GPIO_InitStruct.Mode = GPIO_MODE_IT_RISING_FALLING;
  GPIO_InitStruct.Pull = GPIO_NOPULL;
  HAL_GPIO_Init(GPIOA, &GPIO_InitStruct);

  /*Configure GPIO pins : FAN_1_CONTROL_Pin FAN_2_CONTROL_Pin VCU_FAULT_Pin BRAKE_LIGHT_CONTROL_Pin
                           BUZZER_CONTROL_Pin */
  GPIO_InitStruct.Pin = FAN_1_CONTROL_Pin|FAN_2_CONTROL_Pin|BRAKE_LIGHT_CONTROL_Pin
                          |BUZZER_CONTROL_Pin;
  GPIO_InitStruct.Mode = GPIO_MODE_OUTPUT_PP;
  GPIO_InitStruct.Pull = GPIO_NOPULL;
  GPIO_InitStruct.Speed = GPIO_SPEED_FREQ_LOW;
  HAL_GPIO_Init(GPIOB, &GPIO_InitStruct);

  /*Configure GPIO pin : BOOT_1_Pin */
  GPIO_InitStruct.Pin = BOOT_1_Pin;
  GPIO_InitStruct.Mode = GPIO_MODE_IT_RISING_FALLING;
  GPIO_InitStruct.Pull = GPIO_NOPULL;
  HAL_GPIO_Init(BOOT_1_GPIO_Port, &GPIO_InitStruct);

  /*Configure GPIO pin : DASH_INPUT_1_Pin */
  GPIO_InitStruct.Pin = DASH_INPUT_1_Pin;
  GPIO_InitStruct.Mode = GPIO_MODE_OUTPUT_PP;
  GPIO_InitStruct.Pull = GPIO_NOPULL;
  GPIO_InitStruct.Speed = GPIO_SPEED_FREQ_LOW;
  HAL_GPIO_Init(DASH_INPUT_1_GPIO_Port, &GPIO_InitStruct);

  /* EXTI interrupt init*/
  HAL_NVIC_SetPriority(EXTI9_5_IRQn, 5, 0);
  HAL_NVIC_EnableIRQ(EXTI9_5_IRQn);

  HAL_NVIC_SetPriority(EXTI15_10_IRQn, 5, 0);
  HAL_NVIC_EnableIRQ(EXTI15_10_IRQn);

}

void StartDefaultTask(void *argument)
{
  /* init code for USB_DEVICE */
  MX_USB_DEVICE_Init();
  /* USER CODE BEGIN 5 */

  int vcu_dbg_can = CANGetDbEntry(0x651);
  CANMessage_VCU_DEBUG_MESSAGE contents = {
		  .fields = {
				  .VCU_DEBUG_0 = 12300
		  }
  };

  // Wait for 5V rail to come up
  while (HAL_GPIO_ReadPin(RAIL_POWER_ENABLE_5V_GPIO_Port, RAIL_POWER_ENABLE_5V_Pin) == GPIO_PIN_RESET) {
    osDelay(1);
  }
  osDelay(10);

  CANQueueMessageToSend(vcu_dbg_can, contents.as_u64, &hcan2);
  AMKControllerEventFlags_t amk_flags = {.flagBits = {.start_motors=1}};
  osEventFlagsClear(amkEventFlagsHandle, (AMKControllerEventFlags_t){.flagBits = AMK_FLAGS_ALL}.flagInt);
  osEventFlagsSet(amkEventFlagsHandle, amk_flags.flagInt);

  /* Infinite loop */
  for(;;)
  {
    // Heart beat
    HAL_GPIO_TogglePin(GPIOC, DEBUG_LED_3_Pin);
    osDelay(50);
  }
  /* USER CODE END 5 */
}

void HAL_TIM_PeriodElapsedCallback(TIM_HandleTypeDef *htim)
{
  if (htim->Instance == TIM1) {
    HAL_IncTick();
  }
}

void Error_Handler(void)
{
  __disable_irq();
  while (1)
  {
  }
}

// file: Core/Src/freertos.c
/* USER CODE BEGIN Header */
/**
  ******************************************************************************
  * File Name          : freertos.c
  * Description        : Code for freertos applications
  ******************************************************************************
  * @attention
  *
  * Copyright (c) 2024 STMicroelectronics.
  * All rights reserved.
  *
  * This software is licensed under terms that can be found in the LICENSE file
  * in the root directory of this software component.
  * If no LICENSE file comes with this software, it is provided AS-IS.
  *
  ******************************************************************************
  */
/* USER CODE END Header */

#include "FreeRTOS.h"
#include "task.h"
#include "main.h"

/* Hook prototypes */
void configureTimerForRunTimeStats(void);
unsigned long getRunTimeCounterValue(void);

/* USER CODE BEGIN 1 */
extern TIM_HandleTypeDef htim11;
/* Functions needed when configGENERATE_RUN_TIME_STATS is on */
__weak void configureTimerForRunTimeStats(void)
{
	HAL_TIM_Base_Start_IT(&htim11);
}

extern volatile unsigned long ulHighFrequencyTimerTicks;
__weak unsigned long getRunTimeCounterValue(void)
{
    return ulHighFrequencyTimerTicks;
}
/* USER CODE END 1 */
